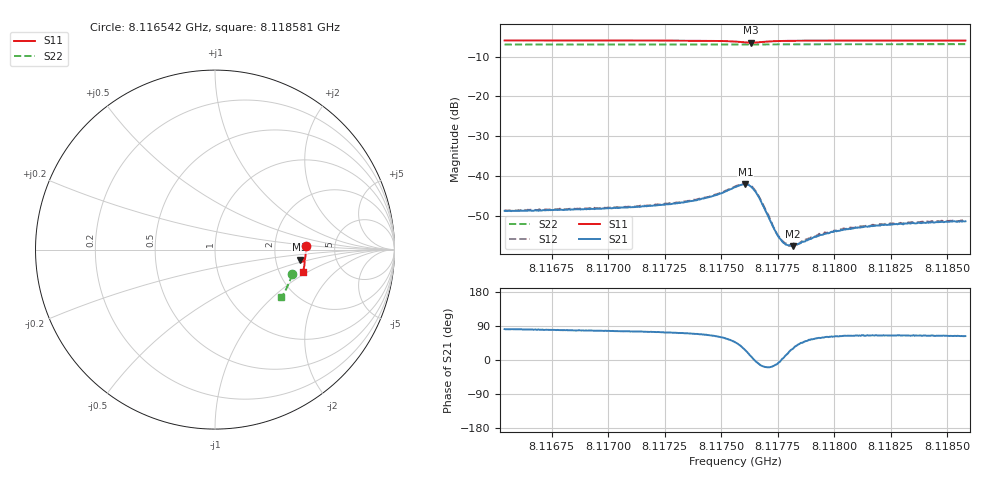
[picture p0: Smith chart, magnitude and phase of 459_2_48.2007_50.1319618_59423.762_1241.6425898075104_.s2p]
#  HZ  S  RI  R  50.00
! Rohde & Schwarz Vector Network Analyzer
! Rohde-Schwarz,ZNB20-2Port,1311601062101988,3.16
! Created: UTC 3/20/2024, 11:56:40 AM
! freq[Hz]  re:S11  im:S11  re:S21  im:S21  re:S12  im:S12  re:S22  im:S22
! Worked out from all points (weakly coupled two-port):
!   401 points, 8.116542 GHz to 8.118581 GHz, reference 50 ohm
!   highest |S21| = -42.10 dB at 8.117607 GHz (marker M1); lowest = -57.7 dB at 8.117816 GHz (marker M2)
!   lowest |S11| = -6.4 dB at 8.117633 GHz (marker M3), VSWR 2.82, Z = 138 - j19.8 ohm
!   |S11| at or under -10 dB: nowhere
!   |S22| runs from -6.9 to -6.8 dB; largest |S21 - S12| = 0.00023
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8.116542e9  0.5071 0.0187  0.000534 0.00359  0.000569 0.00363  0.4286 -0.1378
8.1168836e9  0.5069 -0.00747  0.000793 0.00372  0.00085 0.00377  0.4217 -0.1606
8.1172251e9  0.5047 -0.0349  0.00121 0.00412  0.0013 0.00415  0.4135 -0.183
8.1173423e9  0.503 -0.0452  0.00158 0.00442  0.00162 0.00451  0.4102 -0.1905
8.1174392e9  0.5 -0.055  0.00218 0.00487  0.00228 0.00491  0.4075 -0.1969
8.1175055e9  0.4955 -0.0623  0.00311 0.00528  0.00318 0.00537  0.4052 -0.2013
8.1175615e9  0.4868 -0.0676  0.00493 0.00527  0.00508 0.00537  0.4033 -0.2047
8.1176074e9  0.4753 -0.0639  0.00707 0.00341  0.00726 0.00344  0.4017 -0.2073
8.1176329e9  0.4728 -0.0557  0.00722 0.00117  0.00743 0.00115  0.4009 -0.2085
8.1176482e9  0.4748 -0.0506  0.00655 -6.66e-05  0.00671 -7.92e-05  0.4006 -0.209
8.1176686e9  0.4803 -0.0469  0.00522 -0.00104  0.0053 -0.00107  0.4004 -0.2102
8.1177399e9  0.4949 -0.0523  0.00197 -0.000442  0.00199 -0.000486  0.3989 -0.2149
8.1177552e9  0.4962 -0.0545  0.00168 -0.000187  0.00171 -0.000224  0.3983 -0.216
8.1177756e9  0.4974 -0.0573  0.00144 0.000126  0.00149 0.000128  0.3979 -0.2172
8.1177909e9  0.4981 -0.0593  0.00131 0.000345  0.00132 0.000334  0.3975 -0.2183
8.1178164e9  0.4989 -0.0625  0.00114 0.000634  0.00119 0.000661  0.3966 -0.2199
8.1178368e9  0.4991 -0.0649  0.00107 0.000871  0.00107 0.000839  0.3959 -0.2212
8.1179031e9  0.4994 -0.0719  0.00096 0.00134  0.000978 0.00137  0.3938 -0.2254
8.1179336e9  0.4992 -0.0748  0.000927 0.00151  0.000996 0.00159  0.3929 -0.2274
8.1180356e9  0.4983 -0.084  0.000931 0.00186  0.000991 0.00187  0.3895 -0.234
8.1182446e9  0.4954 -0.1008  0.00103 0.00222  0.00102 0.00228  0.3822 -0.2465
8.118581e9  0.4894 -0.126  0.00121 0.00239  0.00126 0.00246  0.3697 -0.2666
